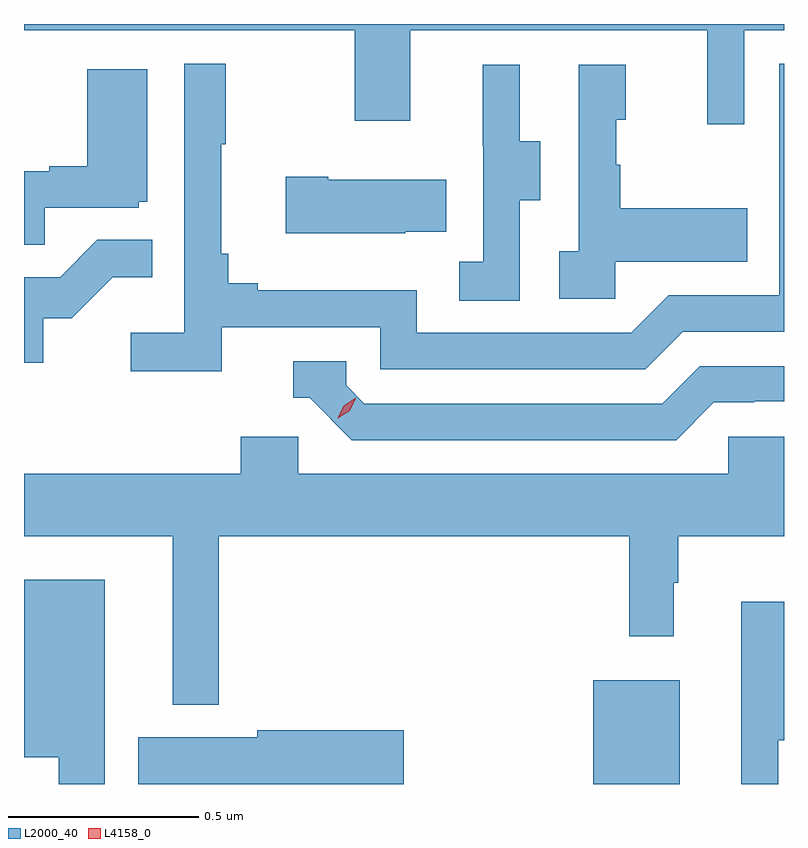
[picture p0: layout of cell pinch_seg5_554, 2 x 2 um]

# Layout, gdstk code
import gdstk
lib = gdstk.Library(unit=1e-6, precision=1e-09)
def R(c, l, rs):  # rectangles x0, y0, x1, y1
    for r in rs: c.add(gdstk.rectangle(r[:2], r[2:], *l))
def P(c, l, *ps):  # polygons
    for p in ps: c.add(gdstk.Polygon(p, *l))
L2000_40 = (2000, 40)
L4158_0 = (4158, 0)

pinch_seg5_554 = lib.new_cell('pinch_seg5_554')
R(pinch_seg5_554, L2000_40, [(994.958,852.112,995.185,852.385)])
P(pinch_seg5_554, L2000_40, [(995.355,854.096),(995.46,854.096),(995.46,854.112),(993.46,854.112),(993.46,854.096),(994.33,854.096),(994.33,853.857),(994.477,853.857),(994.477,854.096),(995.258,854.096),(995.258,853.848),(995.355,853.848)],
  [(993.98,853.314),(994.398,853.314),(994.398,853.203),(995.095,853.203),(995.194,853.302),(995.46,853.302),(995.46,854.007),(995.448,854.007),(995.448,853.398),(995.157,853.398),(995.058,853.299),(994.494,853.299),(994.494,853.411),(994.075,853.411),(994.075,853.43),(993.998,853.43),(993.998,853.507),(993.979,853.507),(993.979,853.795),(993.991,853.795),(993.991,854.008),(993.882,854.008),(993.882,853.3),(993.741,853.3),(993.741,853.198),(993.98,853.198)],
  [(995.016,853.487),(995.363,853.487),(995.363,853.627),(995.029,853.627),(995.029,853.742),(995.019,853.742),(995.019,853.86),(995.044,853.86),(995.044,854.005),(994.92,854.005),(994.92,853.514),(994.869,853.514),(994.869,853.389),(995.016,853.389)],
  [(994.764,853.648),(994.819,853.648),(994.819,853.803),(994.765,853.803),(994.765,854.005),(994.667,854.005),(994.667,853.791),(994.668,853.791),(994.668,853.487),(994.605,853.487),(994.605,853.384),(994.764,853.384)],
  [(993.515,853.629),(993.762,853.629),(993.762,853.644),(993.784,853.644),(993.784,853.993),(993.626,853.993),(993.626,853.738),(993.527,853.738),(993.527,853.725),(993.46,853.725),(993.46,853.531),(993.515,853.531)],
  [(994.463,853.565),(994.571,853.565),(994.571,853.702),(994.261,853.702),(994.261,853.71),(994.149,853.71),(994.149,853.562),(994.463,853.562)],
  [(993.51,853.338),(993.586,853.338),(993.693,853.445),(993.797,853.445),(993.797,853.544),(993.653,853.544),(993.555,853.446),(993.46,853.446),(993.46,853.221),(993.51,853.221)],
  [(995.275,853.116),(995.382,853.116),(995.382,853.119),(995.46,853.119),(995.46,853.212),(995.238,853.212),(995.139,853.113),(994.356,853.113),(994.308,853.161),(994.308,853.224),(994.169,853.224),(994.169,853.128),(994.212,853.128),(994.323,853.017),(995.176,853.017)],
  [(993.973,852.764),(995.053,852.764),(995.053,852.501),(995.17,852.501),(995.17,852.641),(995.182,852.641),(995.182,852.764),(995.46,852.764),(995.46,853.026),(995.313,853.026),(995.313,852.928),(994.182,852.928),(994.182,853.026),(994.031,853.026),(994.031,852.928),(993.46,852.928),(993.46,852.764),(993.851,852.764),(993.851,852.32),(993.973,852.32)],
  [(993.673,852.649),(993.46,852.649),(993.46,852.182),(993.552,852.182),(993.552,852.112),(993.673,852.112)],
  [(995.445,852.227),(995.46,852.227),(995.46,852.592),(995.348,852.592),(995.348,852.112),(995.445,852.112)],
  [(994.459,852.254),(994.074,852.254),(994.074,852.235),(993.761,852.235),(993.761,852.112),(994.459,852.112)])
P(pinch_seg5_554, L4158_0, [(994.286,853.074),(994.286,853.074),(994.302,853.107),(994.332,853.127),(994.333,853.127),(994.333,853.126),(994.317,853.094),(994.286,853.074)])

lib.write_gds('pinch_seg5_554.gds')
